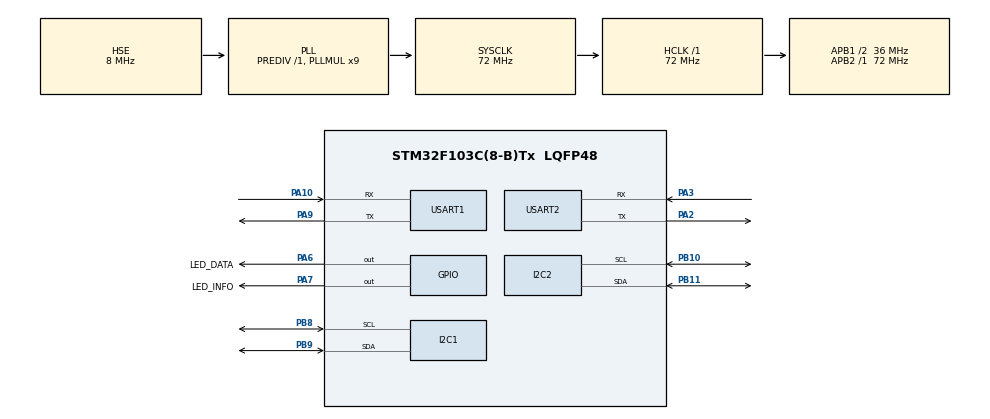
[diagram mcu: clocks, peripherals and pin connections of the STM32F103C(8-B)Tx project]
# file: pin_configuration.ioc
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Mcu.Family=STM32F1
Mcu.Name=STM32F103C(8-B)Tx
Mcu.Package=LQFP48
NVIC.PriorityGroup=NVIC_PRIORITYGROUP_4
NVIC.USART1_IRQn=true\:0\:0\:false\:false\:true\:true
NVIC.USART2_IRQn=true\:0\:0\:false\:false\:true\:true
PA10.Mode=Asynchronous
PA10.Signal=USART1_RX
PA13.Mode=Serial_Wire
PA13.Signal=SYS_JTMS-SWDIO
PA14.Mode=Serial_Wire
PA14.Signal=SYS_JTCK-SWCLK
PA2.Mode=Asynchronous
PA2.Signal=USART2_TX
PA3.Mode=Asynchronous
PA3.Signal=USART2_RX
PA6.GPIO_Label=LED_DATA
PA6.Signal=GPIO_Output
PA7.GPIO_Label=LED_INFO
PA7.Signal=GPIO_Output
PA9.Mode=Asynchronous
PA9.Signal=USART1_TX
PB10.Mode=I2C
PB10.Signal=I2C2_SCL
PB11.Mode=I2C
PB11.Signal=I2C2_SDA
PB8.Mode=I2C
PB8.Signal=I2C1_SCL
PB9.Mode=I2C
PB9.Signal=I2C1_SDA
PD0-OSC_IN.Mode=HSE-External-Oscillator
PD0-OSC_IN.Signal=RCC_OSC_IN
PD1-OSC_OUT.Mode=HSE-External-Oscillator
PD1-OSC_OUT.Signal=RCC_OSC_OUT
ProjectManager.HeapSize=0x200
ProjectManager.StackSize=0x400
ProjectManager.TargetToolchain=MDK-ARM V5
RCC.AHBFreq_Value=72000000
RCC.APB1CLKDivider=RCC_HCLK_DIV2
RCC.APB1Freq_Value=36000000
RCC.APB1TimFreq_Value=72000000
RCC.APB2Freq_Value=72000000
RCC.APB2TimFreq_Value=72000000
RCC.HCLKFreq_Value=72000000
RCC.PLLMUL=RCC_PLL_MUL9
RCC.PLLSourceVirtual=RCC_PLLSOURCE_HSE
RCC.SYSCLKFreq_VALUE=72000000
RCC.SYSCLKSource=RCC_SYSCLKSOURCE_PLLCLK
RCC.USBFreq_Value=72000000
USART1.VirtualMode=VM_ASYNC
USART2.VirtualMode=VM_ASYNC
board=super_global_configuration

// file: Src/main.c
/**
  ******************************************************************************
  * File Name          : main.c
  * Description        : Main program body
  ******************************************************************************
  ** This notice applies to any and all portions of this file
  * that are not between comment pairs USER CODE BEGIN and
  * USER CODE END. Other portions of this file, whether
  * inserted by the user or by software development tools
  * are owned by their respective copyright owners.
  *
  * COPYRIGHT(c) 2018 STMicroelectronics
  *
  * Redistribution and use in source and binary forms, with or without modification,
  * are permitted provided that the following conditions are met:
  *   1. Redistributions of source code must retain the above copyright notice,
  *      this list of conditions and the following disclaimer.
  *   2. Redistributions in binary form must reproduce the above copyright notice,
  *      this list of conditions and the following disclaimer in the documentation
  *      and/or other materials provided with the distribution.
  *   3. Neither the name of STMicroelectronics nor the names of its contributors
  *      may be used to endorse or promote products derived from this software
  *      without specific prior written permission.
  *
  * THIS SOFTWARE IS PROVIDED BY THE COPYRIGHT HOLDERS AND CONTRIBUTORS "AS IS"
  * AND ANY EXPRESS OR IMPLIED WARRANTIES, INCLUDING, BUT NOT LIMITED TO, THE
  * IMPLIED WARRANTIES OF MERCHANTABILITY AND FITNESS FOR A PARTICULAR PURPOSE ARE
  * DISCLAIMED. IN NO EVENT SHALL THE COPYRIGHT HOLDER OR CONTRIBUTORS BE LIABLE
  * FOR ANY DIRECT, INDIRECT, INCIDENTAL, SPECIAL, EXEMPLARY, OR CONSEQUENTIAL
  * DAMAGES (INCLUDING, BUT NOT LIMITED TO, PROCUREMENT OF SUBSTITUTE GOODS OR
  * SERVICES; LOSS OF USE, DATA, OR PROFITS; OR BUSINESS INTERRUPTION) HOWEVER
  * CAUSED AND ON ANY THEORY OF LIABILITY, WHETHER IN CONTRACT, STRICT LIABILITY,
  * OR TORT (INCLUDING NEGLIGENCE OR OTHERWISE) ARISING IN ANY WAY OUT OF THE USE
  * OF THIS SOFTWARE, EVEN IF ADVISED OF THE POSSIBILITY OF SUCH DAMAGE.
  *
  ******************************************************************************
  */

#include "main.h"
#include "stm32f1xx_hal.h"
#include "math.h"

/* USER CODE BEGIN Includes */
#include "string.h"
#include "mpu6050.h"
#include "hal_gps.h"
#include "bmp280.h"
/* USER CODE END Includes */
#define M_PI 3.14159265358979323846
I2C_HandleTypeDef hi2c1;
I2C_HandleTypeDef hi2c2;

UART_HandleTypeDef huart1;
UART_HandleTypeDef huart2;

/* USER CODE BEGIN PV */
/* Private variables ---------------------------------------------------------*/
uint32_t tickstart;
uint32_t tickstart_print;
uint32_t tickstart_gps;
/* USER CODE END PV */

void SystemClock_Config(void);
static void MX_GPIO_Init(void);
static void MX_I2C1_Init(void);
static void MX_I2C2_Init(void);
static void MX_USART1_UART_Init(void);
static void MX_USART2_UART_Init(void);

/* USER CODE BEGIN PFP */
/* Private function prototypes -----------------------------------------------*/
void UART_send_i(int val);
void UART_send_f(float val);
void UART_send_s(char val[]);

float ac_get_rotation_x(float ac_x, float ac_y, float ac_z);
float ac_get_rotation_y(float ac_x, float ac_y, float ac_z);

int calculate_checksum_s(char str[]);
void add_checksum_array(char arr[]);
/* USER CODE END PFP */

/* USER CODE BEGIN 0 */
float temp;
uint8_t id;
mpu6050 mpu; //hi2c2
gps_hal gps;
bmp280 bmp; //hi2c1
int aux = 0, aux2=0, aux3=0;
uint8_t temp_id;

char *calib_msg="Calibrating gyro...";

/* USER CODE END 0 */

int main(void)
{

  /* MCU Configuration----------------------------------------------------------*/

  /* Reset of all peripherals, Initializes the Flash interface and the Systick. */
  HAL_Init();

  /* Configure the system clock */
  SystemClock_Config();

  /* Initialize all configured peripherals */
  MX_GPIO_Init();
  MX_I2C1_Init();
  MX_I2C2_Init();
  MX_USART1_UART_Init();
  MX_USART2_UART_Init();

  /* USER CODE BEGIN 2 */
	init(&hi2c2);
	HAL_GPIO_WritePin(LED_INFO_GPIO_Port, LED_INFO_Pin, GPIO_PIN_SET);
	gyro_configuration(&hi2c2, 250);
	accel_configuration(&hi2c2, 8);
	HAL_UART_Transmit(&huart1,(uint8_t*)calib_msg,strlen(calib_msg),10);
	calibration(&hi2c2, &mpu);
	HAL_GPIO_WritePin(LED_INFO_GPIO_Port, LED_INFO_Pin, GPIO_PIN_RESET);
	bmp280_init(&hi2c1,&bmp);
  /* USER CODE END 2 */

  /* Infinite loop */
  /* USER CODE BEGIN WHILE */
	int b = 0;
	uint8_t id;
	char mpu_data[30]="";
	char gps_data[30]="";
	char gps_data_dt[30]="";
	char bmp_data[30]="";
	char temp_data[30]="";
	float temperatura,press;
	int mostrado = 0;

	int16_t acc_x, acc_y, acc_z, acc_total_vector;
	int32_t gyro_x_cal=0,gyro_y_cal=0,gyro_z_cal=0; // gyro calibration value
	float angle_pitch, angle_roll, angle_pitch_acc,angle_roll_acc;
	float pitch =0,roll = 0, gyro_x_delta, gyro_y_delta, gyro_x_total, gyro_y_total, last_x = 0.0, last_y = 0.0, rotation_x, rotation_y;
	int gps_s = 0;
	int32_t tfine_value;
	//END VARIABLES

	gps.state = 0;
	tickstart = HAL_GetTick();
	tickstart_print = HAL_GetTick();
	tickstart_gps = HAL_GetTick();

  while (1)
  {

		if((HAL_GetTick() - tickstart_gps) >= 1000){
			get_gps_data(&huart2,&huart1,&gps);
			tickstart_gps = HAL_GetTick();
		}

		if((HAL_GetTick() - tickstart) >= 10){

			if(read_gyro(&hi2c2, &mpu)!=0 || read_acc(&hi2c2, &mpu)!=0 || read_temperature(&hi2c2, &mpu)!=0) HAL_UART_Transmit(&huart1,(uint8_t*)"ERROR MPU",10,100);
			else {
				float g_x_f = (mpu.gyro_x / 131.0) - (mpu.gyro_x_cal/131.0);
				float g_y_f = (mpu.gyro_y / 131.0) - (mpu.gyro_y_cal/131.0);
				float g_z_f = (mpu.gyro_z / 131.0) - (mpu.gyro_z_cal/131.0);

				float a_x_f = mpu.accel_x / 4096.0;
				float a_y_f = mpu.accel_y / 4096.0;
				float a_z_f = mpu.accel_z / 4096.0;

				gyro_x_delta = g_x_f * 0.001;
				gyro_y_delta = g_y_f * 0.001;

				gyro_x_total = gyro_x_total + gyro_x_delta;
				gyro_y_total = gyro_y_total + gyro_y_delta;

				rotation_x = atan2(a_x_f, a_z_f) * 180/M_PI;
				rotation_y = atan2(a_x_f, sqrt(a_y_f*a_y_f + a_z_f*a_z_f)) * 180/M_PI;

				last_x = 0.95 * (last_x + gyro_x_delta) + (0.05 * rotation_x);
				last_y = 0.95 * (last_y + gyro_y_delta) + (0.05 * rotation_y);

			}

			if(bmp280_read_temperature(&hi2c1,&bmp,&tfine_value) != 0 ) HAL_UART_Transmit(&huart1,(uint8_t*)"ERROR BMP",3,100);
			if(bmp280_read_pressure(&hi2c1,&bmp) != 0) HAL_UART_Transmit(&huart1,(uint8_t*)"ERROR BMP",3,100);

			tickstart = HAL_GetTick();
		}

		if(HAL_GetTick() - tickstart_print >= 200){

			sprintf(mpu_data, "P:%f,R:%f",pitch,roll);
			add_checksum_array(mpu_data);
			HAL_UART_Transmit(&huart1,(uint8_t*)mpu_data,30,10);
			HAL_Delay(30);

			sprintf(temp_data, "T:%f,S:%f",mpu.temperature,gps.speed);
			add_checksum_array(temp_data);
			HAL_UART_Transmit(&huart1,(uint8_t*)temp_data,30,10);
			HAL_Delay(30);

			sprintf(bmp_data, "Pr:%f",bmp.pressure);
			add_checksum_array(bmp_data);
			HAL_UART_Transmit(&huart1,(uint8_t*)bmp_data,30,10);
			HAL_Delay(30);

			if(gps.state == 0) HAL_UART_Transmit(&huart1,(uint8_t*)"L:-1,-1\n",10,10);
			else{
				sprintf(gps_data, "La:%f,Lo:%f",gps.latitude,gps.longitude);
				add_checksum_array(gps_data);
				HAL_UART_Transmit(&huart1,(uint8_t*)gps_data,30,10);
				HAL_Delay(30);
				sprintf(gps_data_dt, "D:%d,Ti:%d",gps.date,gps.time);
				add_checksum_array(gps_data_dt);
				HAL_UART_Transmit(&huart1,(uint8_t*)gps_data_dt,30,10);
				HAL_Delay(30);
			}

			tickstart_print = HAL_GetTick();
		}
  }
  /* USER CODE END 3 */

}

/** System Clock Configuration
*/
void SystemClock_Config(void)
{

  RCC_OscInitTypeDef RCC_OscInitStruct;
  RCC_ClkInitTypeDef RCC_ClkInitStruct;

    /**Initializes the CPU, AHB and APB busses clocks
    */
  RCC_OscInitStruct.OscillatorType = RCC_OSCILLATORTYPE_HSE;
  RCC_OscInitStruct.HSEState = RCC_HSE_ON;
  RCC_OscInitStruct.HSEPredivValue = RCC_HSE_PREDIV_DIV1;
  RCC_OscInitStruct.HSIState = RCC_HSI_ON;
  RCC_OscInitStruct.PLL.PLLState = RCC_PLL_ON;
  RCC_OscInitStruct.PLL.PLLSource = RCC_PLLSOURCE_HSE;
  RCC_OscInitStruct.PLL.PLLMUL = RCC_PLL_MUL9;
  if (HAL_RCC_OscConfig(&RCC_OscInitStruct) != HAL_OK)
  {
    _Error_Handler(__FILE__, __LINE__);
  }

    /**Initializes the CPU, AHB and APB busses clocks
    */
  RCC_ClkInitStruct.ClockType = RCC_CLOCKTYPE_HCLK|RCC_CLOCKTYPE_SYSCLK
                              |RCC_CLOCKTYPE_PCLK1|RCC_CLOCKTYPE_PCLK2;
  RCC_ClkInitStruct.SYSCLKSource = RCC_SYSCLKSOURCE_PLLCLK;
  RCC_ClkInitStruct.AHBCLKDivider = RCC_SYSCLK_DIV1;
  RCC_ClkInitStruct.APB1CLKDivider = RCC_HCLK_DIV2;
  RCC_ClkInitStruct.APB2CLKDivider = RCC_HCLK_DIV1;

  if (HAL_RCC_ClockConfig(&RCC_ClkInitStruct, FLASH_LATENCY_2) != HAL_OK)
  {
    _Error_Handler(__FILE__, __LINE__);
  }

    /**Configure the Systick interrupt time
    */
  HAL_SYSTICK_Config(HAL_RCC_GetHCLKFreq()/1000);

    /**Configure the Systick
    */
  HAL_SYSTICK_CLKSourceConfig(SYSTICK_CLKSOURCE_HCLK);

  /* SysTick_IRQn interrupt configuration */
  HAL_NVIC_SetPriority(SysTick_IRQn, 0, 0);
}

/* I2C1 init function */
static void MX_I2C1_Init(void)
{

  hi2c1.Instance = I2C1;
  hi2c1.Init.ClockSpeed = 100000;
  hi2c1.Init.DutyCycle = I2C_DUTYCYCLE_2;
  hi2c1.Init.OwnAddress1 = 0;
  hi2c1.Init.AddressingMode = I2C_ADDRESSINGMODE_7BIT;
  hi2c1.Init.DualAddressMode = I2C_DUALADDRESS_DISABLE;
  hi2c1.Init.OwnAddress2 = 0;
  hi2c1.Init.GeneralCallMode = I2C_GENERALCALL_DISABLE;
  hi2c1.Init.NoStretchMode = I2C_NOSTRETCH_DISABLE;
  if (HAL_I2C_Init(&hi2c1) != HAL_OK)
  {
    _Error_Handler(__FILE__, __LINE__);
  }

}

/* I2C2 init function */
static void MX_I2C2_Init(void)
{

  hi2c2.Instance = I2C2;
  hi2c2.Init.ClockSpeed = 100000;
  hi2c2.Init.DutyCycle = I2C_DUTYCYCLE_2;
  hi2c2.Init.OwnAddress1 = 0;
  hi2c2.Init.AddressingMode = I2C_ADDRESSINGMODE_7BIT;
  hi2c2.Init.DualAddressMode = I2C_DUALADDRESS_DISABLE;
  hi2c2.Init.OwnAddress2 = 0;
  hi2c2.Init.GeneralCallMode = I2C_GENERALCALL_DISABLE;
  hi2c2.Init.NoStretchMode = I2C_NOSTRETCH_DISABLE;
  if (HAL_I2C_Init(&hi2c2) != HAL_OK)
  {
    _Error_Handler(__FILE__, __LINE__);
  }

}

/* USART1 init function */
static void MX_USART1_UART_Init(void)
{

  huart1.Instance = USART1;
  huart1.Init.BaudRate = 38400;
  huart1.Init.WordLength = UART_WORDLENGTH_8B;
  huart1.Init.StopBits = UART_STOPBITS_1;
  huart1.Init.Parity = UART_PARITY_NONE;
  huart1.Init.Mode = UART_MODE_TX_RX;
  huart1.Init.HwFlowCtl = UART_HWCONTROL_NONE;
  huart1.Init.OverSampling = UART_OVERSAMPLING_16;

  if (HAL_UART_Init(&huart1) != HAL_OK)
  {
    _Error_Handler(__FILE__, __LINE__);
  }

}

/* USART2 init function */
static void MX_USART2_UART_Init(void)
{

  huart2.Instance = USART2;
  huart2.Init.BaudRate = 9600;
  huart2.Init.WordLength = UART_WORDLENGTH_8B;
  huart2.Init.StopBits = UART_STOPBITS_1;
  huart2.Init.Parity = UART_PARITY_NONE;
  huart2.Init.Mode = UART_MODE_TX_RX;
  huart2.Init.HwFlowCtl = UART_HWCONTROL_NONE;
  huart2.Init.OverSampling = UART_OVERSAMPLING_16;
  if (HAL_UART_Init(&huart2) != HAL_OK)
  {
    _Error_Handler(__FILE__, __LINE__);
  }

}

/** Configure pins as
        * Analog
        * Input
        * Output
        * EVENT_OUT
        * EXTI
        * Free pins are configured automatically as Analog (this feature is enabled through
        * the Code Generation settings)
*/
static void MX_GPIO_Init(void)
{

  GPIO_InitTypeDef GPIO_InitStruct;

  /* GPIO Ports Clock Enable */
  __HAL_RCC_GPIOC_CLK_ENABLE();
  __HAL_RCC_GPIOD_CLK_ENABLE();
  __HAL_RCC_GPIOA_CLK_ENABLE();
  __HAL_RCC_GPIOB_CLK_ENABLE();

  /*Configure GPIO pin Output Level */
  HAL_GPIO_WritePin(GPIOA, LED_DATA_Pin|LED_INFO_Pin, GPIO_PIN_RESET);

  /*Configure GPIO pins : PC13 PC14 PC15 */
  GPIO_InitStruct.Pin = GPIO_PIN_13|GPIO_PIN_14|GPIO_PIN_15;
  GPIO_InitStruct.Mode = GPIO_MODE_ANALOG;
  HAL_GPIO_Init(GPIOC, &GPIO_InitStruct);

  /*Configure GPIO pins : PA0 PA1 PA4 PA5
                           PA8 PA11 PA12 PA15 */
  GPIO_InitStruct.Pin = GPIO_PIN_0|GPIO_PIN_1|GPIO_PIN_4|GPIO_PIN_5
                          |GPIO_PIN_8|GPIO_PIN_11|GPIO_PIN_12|GPIO_PIN_15;
  GPIO_InitStruct.Mode = GPIO_MODE_ANALOG;
  HAL_GPIO_Init(GPIOA, &GPIO_InitStruct);

  /*Configure GPIO pins : LED_DATA_Pin LED_INFO_Pin */
  GPIO_InitStruct.Pin = LED_DATA_Pin|LED_INFO_Pin;
  GPIO_InitStruct.Mode = GPIO_MODE_OUTPUT_PP;
  GPIO_InitStruct.Speed = GPIO_SPEED_FREQ_LOW;
  HAL_GPIO_Init(GPIOA, &GPIO_InitStruct);

  /*Configure GPIO pins : PB0 PB1 PB2 PB12
                           PB13 PB14 PB15 PB3
                           PB4 PB5 PB6 PB7 */
  GPIO_InitStruct.Pin = GPIO_PIN_0|GPIO_PIN_1|GPIO_PIN_2|GPIO_PIN_12
                          |GPIO_PIN_13|GPIO_PIN_14|GPIO_PIN_15|GPIO_PIN_3
                          |GPIO_PIN_4|GPIO_PIN_5|GPIO_PIN_6|GPIO_PIN_7;
  GPIO_InitStruct.Mode = GPIO_MODE_ANALOG;
  HAL_GPIO_Init(GPIOB, &GPIO_InitStruct);

}

/* USER CODE BEGIN 4 */
void UART_send_i(int val){
	char aux_msg[10]="";
	snprintf(aux_msg,10,"%d\n",val);
	HAL_GPIO_WritePin(LED_DATA_GPIO_Port, LED_DATA_Pin, GPIO_PIN_SET);
	HAL_UART_Transmit(&huart1,(uint8_t*)aux_msg,5,10);
	HAL_GPIO_WritePin(LED_DATA_GPIO_Port, LED_DATA_Pin, GPIO_PIN_RESET);
	//HAL_Delay(50);
}

void UART_send_f(float val){

	char aux_msg[20]="";
	snprintf(aux_msg,20,"%f\n",val);
	HAL_GPIO_WritePin(LED_DATA_GPIO_Port, LED_DATA_Pin, GPIO_PIN_SET);
	HAL_UART_Transmit(&huart1,(uint8_t*)aux_msg,10,10);
	HAL_GPIO_WritePin(LED_DATA_GPIO_Port, LED_DATA_Pin, GPIO_PIN_RESET);
	//HAL_Delay(50);
}

void UART_send_s(char val[]){

}

float ac_get_rotation_x(float ac_x, float ac_y, float ac_z){
	float roll;
	roll = atan2(ac_y, ac_z) * 180/M_PI;
	return roll;
}

float ac_get_rotation_y(float ac_x, float ac_y, float ac_z){
	float pitch;
	pitch = atan2(ac_x, sqrt(ac_y*ac_y + ac_z*ac_z)) * 180/M_PI;
	return pitch;
}

int calculate_checksum_s(char str[]){
    int checksum = 0;
    for(int i=0; i < strlen(str); i++){
        checksum = checksum ^ str[i];
    }
    return checksum;
}

void add_checksum_array(char arr[]){
    char c_val[50] = "";
    int checksum;
    checksum = calculate_checksum_s(arr);
    sprintf(c_val,"*%x\n",checksum);
    strcat(arr,c_val);
}

/* USER CODE END 4 */

void _Error_Handler(char * file, int line)
{
  while(1)
  {
  }
}

/************************ (C) COPYRIGHT STMicroelectronics *****END OF FILE****/
